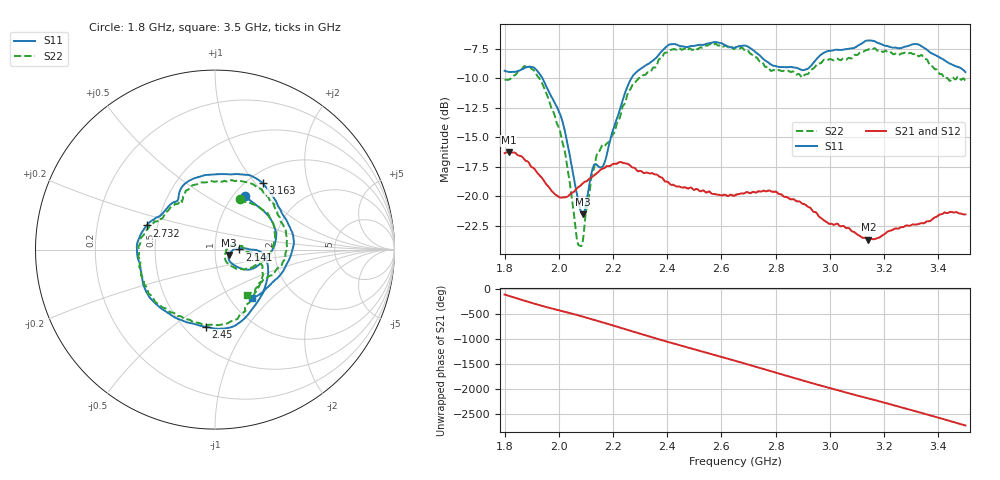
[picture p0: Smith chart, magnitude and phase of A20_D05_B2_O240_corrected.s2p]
! Created with skrf 1.9.0 (http://scikit-rf.org).
# Hz S RI R 50.0
!freq ReS11 ImS11 ReS21 ImS21 ReS12 ImS12 ReS22 ImS22
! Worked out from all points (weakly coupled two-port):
!   1601 points, 1.8 GHz to 3.5 GHz, reference 50 ohm
!   highest |S21| = -16.25 dB at 1.815 GHz (marker M1); lowest = -23.7 dB at 3.142 GHz (marker M2)
!   lowest |S11| = -21.5 dB at 2.089 GHz (marker M3), VSWR 1.18, Z = 58.4 - j3.49 ohm
!   |S11| at or under -10 dB: 1.94 GHz to 2.267 GHz (327.1 MHz wide, 15.6 % of centre)
!   |S22| runs from -24.2 to -7.1 dB; largest |S21 - S12| = 0.0028
!   S11 on the Smith chart (normalised r, x): 1.8 GHz: 1.12, +0.76; 2.141 GHz: 1.31, +0.00; 2.45 GHz: 0.63, -0.67; 2.732 GHz: 0.44, +0.14; 3.163 GHz: 1.17, +1.09; 3.5 GHz: 1.26, -0.76
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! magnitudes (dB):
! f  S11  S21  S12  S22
! 1.8 GHz  -9.3  -16.3  -16.3  -10.1
! 1.815 GHz  -9.4  -16.3  -16.3  -10.1
! 1.887 GHz  -9.0  -17.1  -17.1  -9.0
! 1.942 GHz  -10.1  -18.6  -18.6  -10.6
! 2.013 GHz  -13.6  -20.1  -20.1  -15.3
! 2.068 GHz  -19.9  -19.3  -19.3  -23.8
! 2.084 GHz  -21.4  -19.0  -19.0  -24.2
! 2.089 GHz  -21.5  -18.9  -18.9  -23.7
! 2.124 GHz  -17.7  -18.3  -18.3  -18.0
! 2.141 GHz  -17.3  -18.0  -18.0  -16.4
! 2.168 GHz  -17.2  -17.6  -17.6  -15.7
! 2.266 GHz  -10.0  -17.5  -17.4  -10.8
! 2.367 GHz  -8.0  -18.3  -18.2  -8.5
! 2.45 GHz  -7.3  -19.2  -19.2  -7.5
! 2.65 GHz  -7.4  -19.9  -19.9  -7.5
! 2.732 GHz  -7.9  -19.6  -19.6  -8.3
! 2.934 GHz  -8.8  -21.1  -21.1  -9.2
! 3.142 GHz  -6.8  -23.7  -23.5  -7.5
! 3.163 GHz  -6.8  -23.6  -23.6  -7.4
! 3.217 GHz  -7.3  -22.9  -22.9  -7.8
! 3.327 GHz  -7.1  -22.3  -22.3  -8.1
! 3.5 GHz  -9.5  -21.5  -21.5  -10.2
